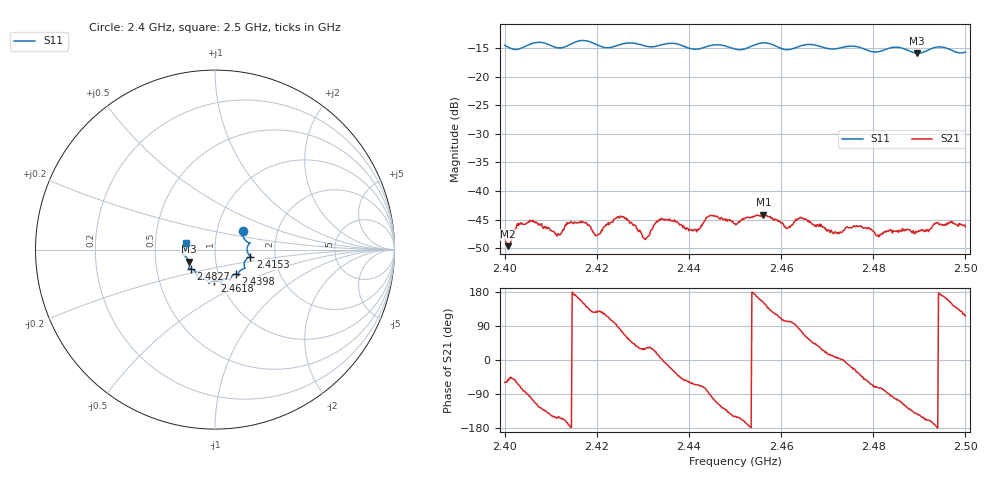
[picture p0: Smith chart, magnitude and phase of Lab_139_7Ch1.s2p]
# Hz S RI R 50
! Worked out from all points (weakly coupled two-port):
!   601 points, 2.4 GHz to 2.5 GHz, reference 50 ohm
!   highest |S21| = -44.17 dB at 2.4562 GHz (marker M1); lowest = -49.7 dB at 2.4007 GHz (marker M2)
!   lowest |S11| = -15.9 dB at 2.4895 GHz (marker M3), VSWR 1.38, Z = 37 - j5.03 ohm
!   |S11| at or under -10 dB: start of sweep to end of sweep
!   S12 and S22 are empty: the file has one direction only
!   S11 on the Smith chart (normalised r, x): 2.4 GHz: 1.33, +0.29; 2.4153 GHz: 1.48, -0.12; 2.4398 GHz: 1.21, -0.34; 2.4618 GHz: 0.94, -0.33; 2.4827 GHz: 0.75, -0.17; 2.5 GHz: 0.72, +0.06
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2.4e9  0.155 0.1063  0.00195 -0.00326  0 0  0 0
2.400667e9  0.1547 0.0965  0.002 -0.00261  0 0  0 0
2.403167e9  0.1655 0.0571  0.00201 -0.00479  0 0  0 0
2.4115e9  0.1788 0.00751  -0.0037 -0.00194  0 0  0 0
2.415333e9  0.197 -0.0392  -0.00523 0.000708  0 0  0 0
2.416667e9  0.2027 -0.0434  -0.00494 0.00226  0 0  0 0
2.42e9  0.1849 -0.046  -0.00256 0.00315  0 0  0 0
2.425667e9  0.1661 -0.1004  0.00186 0.00568  0 0  0 0
2.4305e9  0.1475 -0.1123  0.00332 0.00179  0 0  0 0
2.433333e9  0.1301 -0.1338  0.00535 0.00125  0 0  0 0
2.439833e9  0.1153 -0.136  0.00257 -0.0039  0 0  0 0
2.445e9  0.0836 -0.1687  -0.000882 -0.00601  0 0  0 0
2.45e9  0.0652 -0.1619  -0.00439 -0.00273  0 0  0 0
2.456167e9  0.0386 -0.1938  -0.00544 0.00294  0 0  0 0
2.461833e9  -0.00347 -0.173  -0.000962 0.00481  0 0  0 0
2.464e9  -0.0282 -0.1824  0.000869 0.00566  0 0  0 0
2.466667e9  -0.0348 -0.1878  0.00344 0.00383  0 0  0 0
2.471833e9  -0.0684 -0.1613  0.00434 0.000629  0 0  0 0
2.482667e9  -0.1347 -0.1087  0.00054 -0.00443  0 0  0 0
2.483333e9  -0.1399 -0.1083  7.57e-05 -0.00444  0 0  0 0
2.4895e9  -0.146 -0.0663  -0.00343 -0.00276  0 0  0 0
2.5e9  -0.1595 0.0387  -0.00214 0.00435  0 0  0 0
